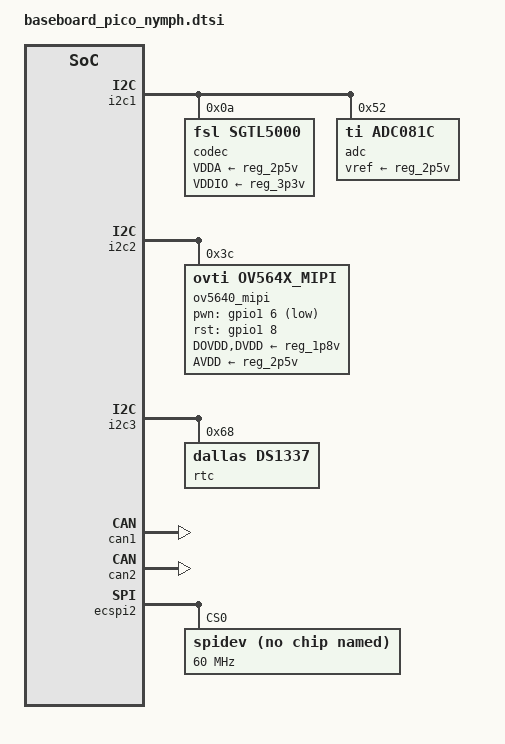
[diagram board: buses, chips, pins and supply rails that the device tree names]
/*
 * Copyright 2016 Technexion Ltd.
 *
 * Author: Wig Cheng <wig.cheng@technexion.com>
 *	   Richard Hu <richard.hu@technexion.com>
 *	   Tapani Utriainen <tapani@technexion.com>
 *
 * This program is free software; you can redistribute it and/or modify
 * it under the terms of the GNU General Public License version 2 as
 * published by the Free Software Foundation.
 *
 */

#include <tnmacro.h>

/ {
	gpio-edm {
		compatible = "gpio-edm";
/* custom GPIO may be from GPIO expander on CPU module */
#ifdef PICO_EXT_GPIO_IOMUX_HOBBIT
		pinctrl-names = "default";
		pinctrl-0 = <PICO_EXT_GPIO_IOMUX_HOBBIT>;
#endif

		/* Mikrobus */
		gpio_p25 {
			label = "GPIO_P25";
			gpios = <&PICO_EXT_GPIO_P25 1>;
			dir   = "in";
		};

		/* GPIO connector, 4 GPIOs */
		gpio_p28 {
			label = "GPIO_P28";
			gpios = <&PICO_EXT_GPIO_P28 GPIO_ACTIVE_HIGH>;
			dir   = "out";
		};
		gpio_p30 {
			label = "GPIO_P30";
			gpios = <&PICO_EXT_GPIO_P30 GPIO_ACTIVE_HIGH>;
			dir   = "in";
		};
		gpio_p32 {
			label = "GPIO_P32";
			gpios = <&PICO_EXT_GPIO_P32 GPIO_ACTIVE_HIGH>;
			dir   = "out";
		};
		gpio_p34 {
			label = "GPIO_P34";
			gpios = <&PICO_EXT_GPIO_P34 GPIO_ACTIVE_HIGH>;
			dir   = "in";
		};

		/* LED */
		gpio_p44 {
			label = "GPIO_P44";
			gpios = <&PICO_EXT_GPIO_P44 0>;
			dir   = "out";
		};
	};

	sound {
		compatible = "fsl,imx-sgtl5000",
			     "fsl,imx-audio-sgtl5000";
		model = "audio-sgtl5000";
		ssi-controller = <&PICO_AUD_I2S_CHANNEL>;
		audio-codec = <&codec>;
		audio-routing =
			"MIC_IN", "Mic Jack",
			"Mic Jack", "Mic Bias",
			"Headphone Jack", "HP_OUT";
		mux-int-port = <PICO_AUD_MUX_INT>;
		mux-ext-port = <PICO_AUD_MUX_EXT>;
	};
};

&i2c1 {
	status = "okay";

	codec: sgtl5000@0a {
		compatible = "fsl,sgtl5000";
		reg = <0x0a>;
		clocks = <&PICO_AUD_CLK_SRC>;
		VDDA-supply = <&reg_2p5v>;
		VDDIO-supply = <&reg_3p3v>;
	};

	adc: adc081c {
		compatible = "ti,adc081c";
		reg = <0x52>;
		vref-supply = <&reg_2p5v>;
	};
};

&i2c2 {
	status = "okay";

	ov5640_mipi: ov5640_mipi@3c {
		compatible = "ovti,ov564x_mipi";
		reg = <0x3c>;
		clocks = <&clks 200>;
		clock-names = "csi_mclk";
		DOVDD-supply = <&reg_1p8v>;
		AVDD-supply = <&reg_2p5v>;
		DVDD-supply = <&reg_1p8v>;
		pwn-gpios = <&gpio1 6 1>;
		rst-gpios = <&gpio1 8 0>;
		ipu_id = <0>;
		csi_id = <0>;
		mclk = <24000000>;
		mclk_source = <0>;
	};
};

&i2c3 {
	status = "okay";

	rtc: ds1337 {
		compatible = "dallas,ds1337";
		reg = <0x68>;
	};
};

&can1 {
	status = "okay";
};

&can2 {
	status = "okay";
};

&ecspi2 {
	status = "okay";

	spidev@0 {
		compatible = "rohm,dh2228fv";
		spi-max-frequency = <60000000>;
		reg = <0>;
	};
};

